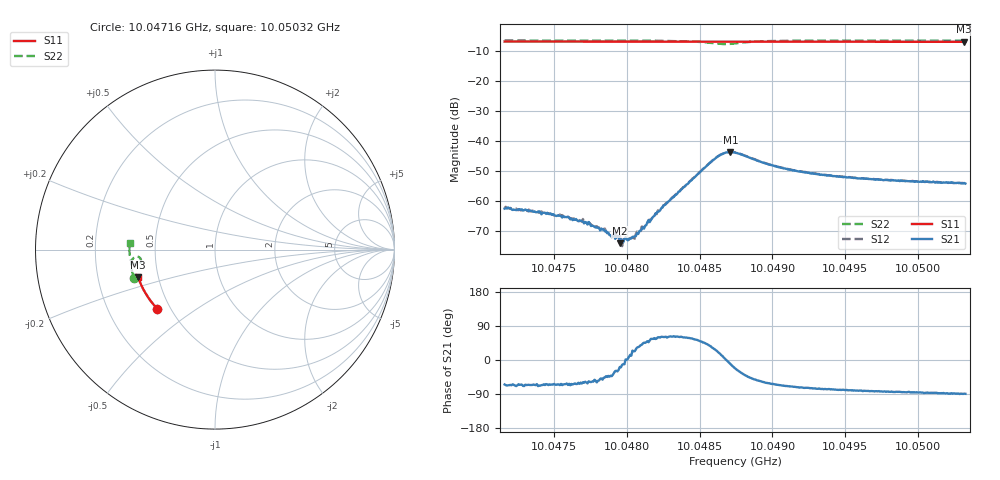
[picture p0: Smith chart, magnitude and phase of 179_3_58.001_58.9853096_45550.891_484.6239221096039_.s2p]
#  HZ  S  RI  R  50.00
! Rohde & Schwarz Vector Network Analyzer
! Rohde-Schwarz,ZNB20-2Port,1311601062101988,3.16
! Created: UTC 3/21/2024, 12:58:16 AM
! freq[Hz]  re:S11  im:S11  re:S21  im:S21  re:S12  im:S12  re:S22  im:S22
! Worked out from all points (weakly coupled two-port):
!   401 points, 10.04716 GHz to 10.05032 GHz, reference 50 ohm
!   highest |S21| = -43.65 dB at 10.04871 GHz (marker M1); lowest = -74.1 dB at 10.04795 GHz (marker M2)
!   lowest |S11| = -6.8 dB at 10.05031 GHz (marker M3), VSWR 2.67, Z = 19.2 - j7.47 ohm
!   |S11| at or under -10 dB: nowhere
!   |S22| runs from -7.6 to -6.4 dB; largest |S21 - S12| = 0.00044
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1.0047164e10  -0.321 -0.33  0.000319 -0.000672  0.000368 -0.000664  -0.453 -0.1562
1.004744e10  -0.3333 -0.3165  0.000258 -0.000583  0.000304 -0.000554  -0.4583 -0.1375
1.0047693e10  -0.3443 -0.304  0.000213 -0.000407  0.000225 -0.000394  -0.4625 -0.1198
1.0047756e10  -0.3471 -0.3007  0.0002 -0.000325  0.000214 -0.000329  -0.4633 -0.115
1.0047843e10  -0.3506 -0.2961  0.000228 -0.000244  0.000238 -0.000244  -0.4643 -0.1084
1.0047883e10  -0.3523 -0.2941  0.000194 -0.000188  0.000216 -0.000188  -0.4651 -0.1056
1.004793e10  -0.3541 -0.2917  0.000219 -0.000119  0.000237 -0.000117  -0.4654 -0.1018
1.0047938e10  -0.3545 -0.2913  0.000224 -0.00013  0.000225 -8.32e-05  -0.4655 -0.1012
1.0047954e10  -0.355 -0.2903  0.000187 -6.2e-05  0.000244 -9.43e-05  -0.4656 -0.0999
1.0047969e10  -0.3558 -0.2895  0.000219 -4.95e-05  0.00017 -4.38e-05  -0.4658 -0.0986
1.0047985e10  -0.3563 -0.2887  0.000229 -4.54e-05  0.000222 -1.46e-05  -0.4657 -0.0974
1.0048048e10  -0.3589 -0.2853  0.000233 9.85e-05  0.000177 0.00012  -0.4664 -0.0921
1.0048222e10  -0.3656 -0.2762  0.000333 0.000579  0.000324 0.000637  -0.4663 -0.0762
1.0048601e10  -0.3792 -0.255  0.00434 0.0024  0.00424 0.00268  -0.4279 -0.0399
1.0048656e10  -0.381 -0.2522  0.00597 0.00113  0.00595 0.00146  -0.4142 -0.0516
1.0048712e10  -0.3828 -0.2491  0.00646 -0.00119  0.00657 -0.000801  -0.4137 -0.0711
1.0048743e10  -0.3839 -0.2476  0.00597 -0.00237  0.00614 -0.00201  -0.4203 -0.0796
1.0049019e10  -0.3934 -0.232  0.00162 -0.00341  0.00187 -0.00336  -0.4654 -0.0656
1.0049272e10  -0.4014 -0.2172  0.000767 -0.00276  0.000937 -0.00276  -0.4732 -0.0413
1.0049801e10  -0.4161 -0.1855  0.000237 -0.00221  0.000381 -0.00219  -0.4768 -0.000436
1.0050314e10  -0.4278 -0.154  4.19e-05 -0.002  0.000156 -0.00198  -0.4754 0.0356
1.0050322e10  -0.4282 -0.1535  2.74e-05 -0.00196  0.000147 -0.00198  -0.4754 0.036
